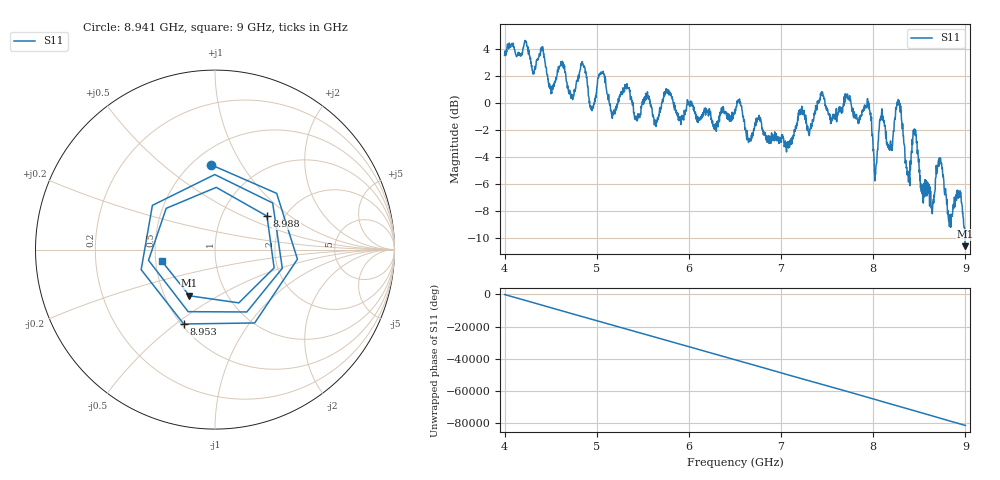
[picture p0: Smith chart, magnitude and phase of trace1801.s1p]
! Created with skrf 1.8.0 (http://scikit-rf.org).
# Hz S RI R 50.0
!freq ReS11 ImS11
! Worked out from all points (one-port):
!   1601 points, 4 GHz to 9 GHz, reference 50 ohm
!   lowest |S11| = -10.6 dB at 8.997 GHz (marker M1), VSWR 1.83, Z = 33.3 - j18.8 ohm
!   |S11| at or under -10 dB: 8.994828 GHz to end of sweep
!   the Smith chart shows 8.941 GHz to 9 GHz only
!   S11 on the Smith chart (normalised r, x): 8.941 GHz: 0.62, +0.75; 8.953 GHz: 0.51, -0.53; 8.988 GHz: 1.63, +0.69; 9 GHz: 0.54, -0.08
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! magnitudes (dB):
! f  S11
! 4 GHz  3.5
! 4.409 GHz  3.9
! 4.506 GHz  0.7
! 4.625 GHz  3.1
! 4.853 GHz  2.8
! 4.944 GHz  -0.5
! 5.047 GHz  2.1
! 5.25 GHz  0.4
! 5.875 GHz  -0.7
! 6.5 GHz  -0.8
! 7.125 GHz  -2.5
! 7.75 GHz  0.1
! 7.947 GHz  0.1
! 8.025 GHz  -5.3
! 8.084 GHz  -1.2
! 8.184 GHz  -3.0
! 8.278 GHz  0.0
! 8.375 GHz  -5.2
! 8.45 GHz  -2.0
! 8.531 GHz  -6.1
! 8.644 GHz  -7.8
! 8.722 GHz  -4.1
! 8.831 GHz  -8.6
! 8.941 GHz  -6.5
! 8.953 GHz  -6.9
! 8.988 GHz  -9.3
! 8.997 GHz  -10.6
! 9 GHz  -10.4
